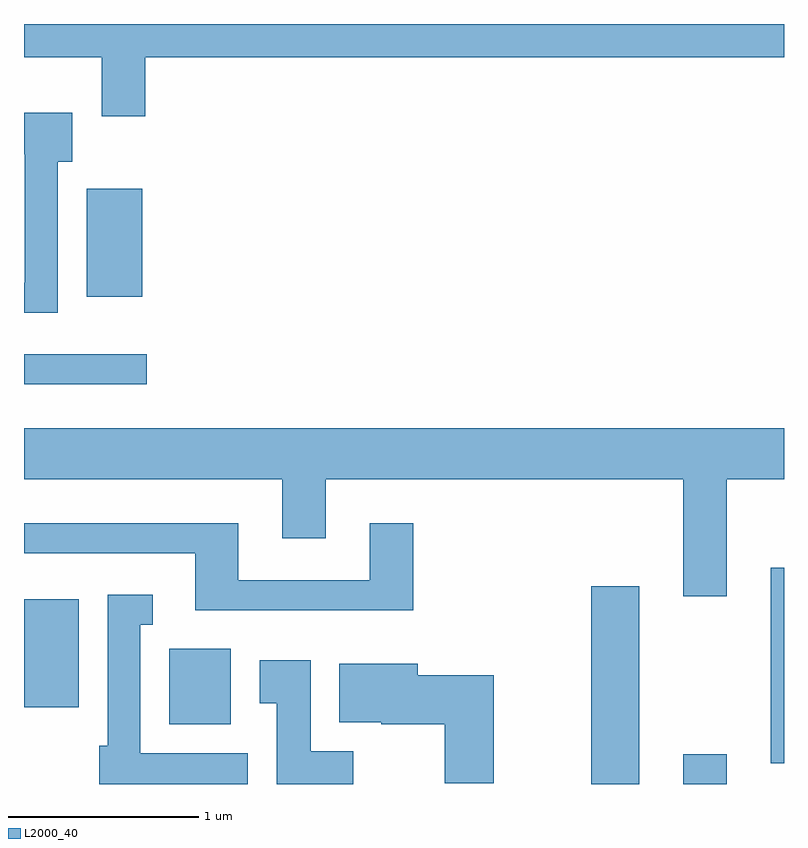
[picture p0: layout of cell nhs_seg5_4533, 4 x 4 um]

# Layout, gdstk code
import gdstk
lib = gdstk.Library(unit=1e-6, precision=1e-09)
def R(c, l, rs):  # rectangles x0, y0, x1, y1
    for r in rs: c.add(gdstk.rectangle(r[:2], r[2:], *l))
def P(c, l, *ps):  # polygons
    for p in ps: c.add(gdstk.Polygon(p, *l))
L2000_40 = (2000, 40)

nhs_seg5_4533 = lib.new_cell('nhs_seg5_4533')
R(nhs_seg5_4533, L2000_40, [(322.596,1464.072,322.849,1465.114), (323.081,1464.072,323.309,1464.229), (323.541,1464.181,323.611,1465.209), (320.376,1464.386,320.699,1464.784), (319.611,1464.476,319.899,1465.044), (319.611,1466.176,320.258,1466.334), (319.941,1466.636,320.234,1467.204)])
P(nhs_seg5_4533, L2000_40, [(320.249,1467.896),(323.611,1467.896),(323.611,1468.072),(319.611,1468.072),(319.611,1467.896),(320.021,1467.896),(320.021,1467.586),(320.249,1467.586)],
  [(319.789,1467.346),(319.864,1467.346),(319.864,1467.604),(319.611,1467.604),(319.611,1467.386),(319.616,1467.386),(319.616,1466.709),(319.611,1466.709),(319.611,1466.551),(319.789,1466.551)],
  [(323.309,1465.676),(323.611,1465.676),(323.611,1465.944),(319.611,1465.944),(319.611,1465.676),(320.971,1465.676),(320.971,1465.366),(321.199,1465.366),(321.199,1465.676),(323.081,1465.676),(323.081,1465.061),(323.309,1465.061)],
  [(321.659,1465.444),(321.431,1465.444),(321.431,1465.144),(320.739,1465.144),(320.739,1465.444),(319.611,1465.444),(319.611,1465.286),(320.511,1465.286),(320.511,1464.986),(321.659,1464.986)],
  [(320.789,1464.234),(320.224,1464.234),(320.224,1464.911),(320.288,1464.911),(320.288,1465.069),(320.051,1465.069),(320.051,1464.274),(320.006,1464.274),(320.006,1464.072),(320.789,1464.072)],
  [(321.344,1464.244),(321.119,1464.244),(321.119,1464.724),(320.851,1464.724),(320.851,1464.496),(320.941,1464.496),(320.941,1464.072),(321.344,1464.072)],
  [(322.084,1464.644),(321.684,1464.644),(321.684,1464.704),(321.271,1464.704),(321.271,1464.396),(321.49,1464.396),(321.49,1464.386),(321.826,1464.386),(321.826,1464.076),(322.084,1464.076)])

lib.write_gds('nhs_seg5_4533.gds')
